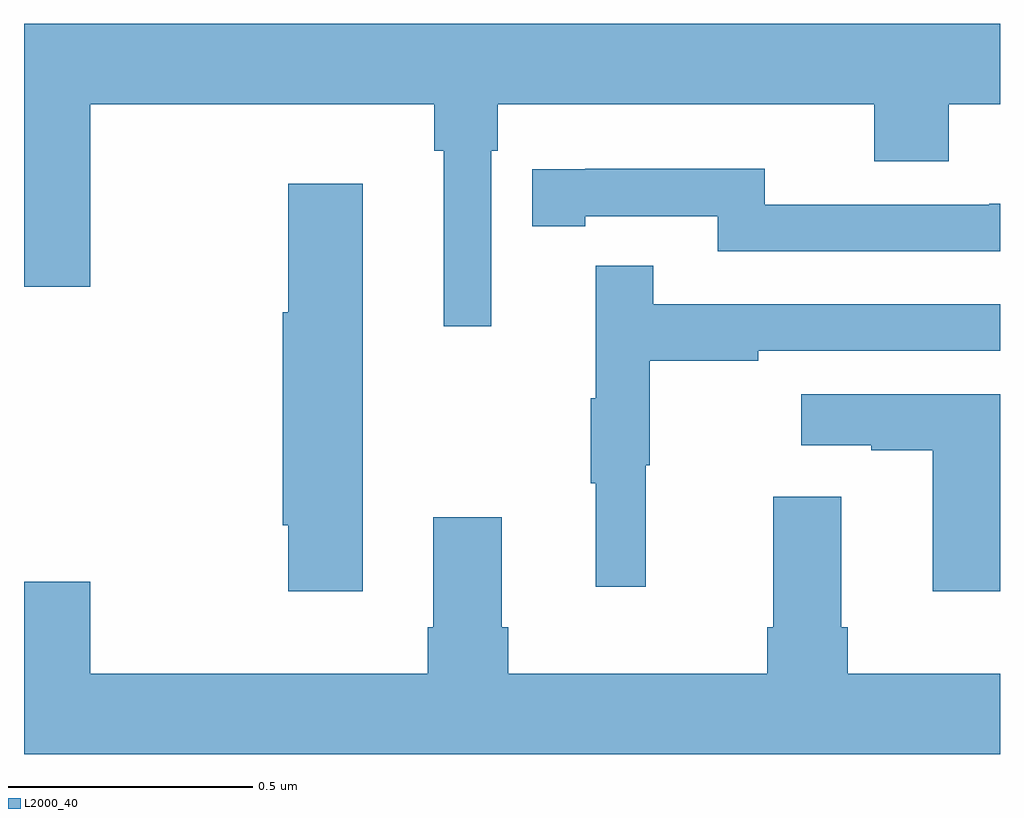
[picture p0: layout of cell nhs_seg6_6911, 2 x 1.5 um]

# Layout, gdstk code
import gdstk
lib = gdstk.Library(unit=1e-6, precision=1e-09)
def P(c, l, *ps):  # polygons
    for p in ps: c.add(gdstk.Polygon(p, *l))
L2000_40 = (2000, 40)

nhs_seg6_6911 = lib.new_cell('nhs_seg6_6911')
P(nhs_seg6_6911, L2000_40, [(201.957,993.86),(201.971,993.86),(201.971,993.956),(202.742,993.956),(202.742,993.839),(202.895,993.839),(202.895,993.956),(203,993.956),(203,994.12),(201,994.12),(201,993.582),(201.136,993.582),(201.136,993.956),(201.841,993.956),(201.841,993.86),(201.86,993.86),(201.86,993.501),(201.957,993.501)],
  [(203,993.752),(202.978,993.752),(202.978,993.75),(202.518,993.75),(202.518,993.823),(202.15,993.823),(202.15,993.822),(202.042,993.822),(202.042,993.706),(202.15,993.706),(202.15,993.726),(202.422,993.726),(202.422,993.654),(203,993.654)],
  [(201.694,993.793),(201.541,993.793),(201.541,993.529),(201.53,993.529),(201.53,993.093),(201.541,993.093),(201.541,992.958),(201.694,992.958)],
  [(202.274,993.216),(202.282,993.216),(202.282,993.43),(202.505,993.43),(202.505,993.45),(203,993.45),(203,993.546),(202.289,993.546),(202.289,993.625),(202.172,993.625),(202.172,993.353),(202.161,993.353),(202.161,993.179),(202.172,993.179),(202.172,992.967),(202.274,992.967)],
  [(203,993.361),(202.593,993.361),(202.593,993.257),(202.736,993.257),(202.736,993.247),(202.862,993.247),(202.862,992.958),(203,992.958)],
  [(203,992.788),(202.688,992.788),(202.688,992.884),(202.675,992.884),(202.675,993.151),(202.535,993.151),(202.535,992.884),(202.523,992.884),(202.523,992.788),(201.992,992.788),(201.992,992.884),(201.979,992.884),(201.979,993.109),(201.839,993.109),(201.839,992.884),(201.827,992.884),(201.827,992.788),(201.136,992.788),(201.136,992.977),(201,992.977),(201,992.624),(203,992.624)])

lib.write_gds('nhs_seg6_6911.gds')
